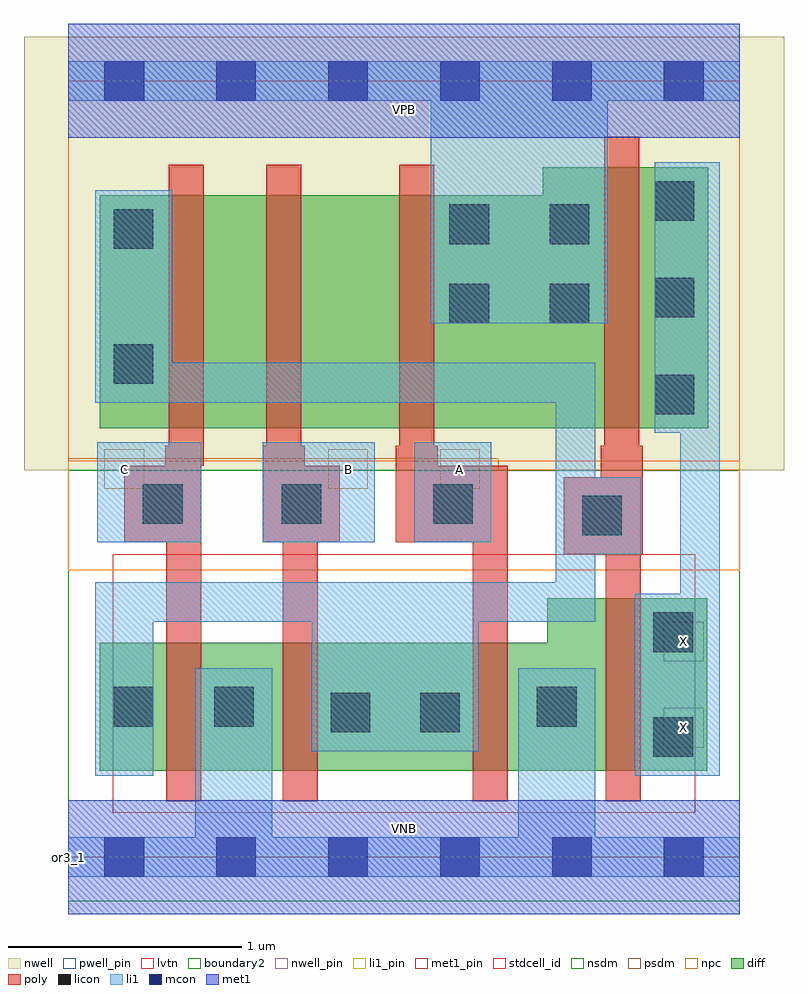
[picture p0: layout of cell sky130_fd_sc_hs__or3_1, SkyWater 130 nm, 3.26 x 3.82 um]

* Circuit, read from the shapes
.subckt sky130_fd_sc_hs__or3_1 A B C VGND VNB VPB VPWR X
XM1 VGND C n1 VNB sky130_fd_pr__nfet_01v8_lvt w=0.55 l=0.15
XM2 n1 B VGND VNB sky130_fd_pr__nfet_01v8_lvt w=0.55 l=0.15
XM3 VGND A n1 VNB sky130_fd_pr__nfet_01v8_lvt w=0.55 l=0.15
XM4 X n1 VGND VNB sky130_fd_pr__nfet_01v8_lvt w=0.74 l=0.15
XM5 n2 C n1 VPB sky130_fd_pr__pfet_01v8 w=1 l=0.15
XM6 n3 B n2 VPB sky130_fd_pr__pfet_01v8 w=1 l=0.15
XM7 VPWR A n3 VPB sky130_fd_pr__pfet_01v8 w=1 l=0.15
XM8 X n1 VPWR VPB sky130_fd_pr__pfet_01v8 w=1.12 l=0.15
.ends

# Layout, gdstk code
import gdstk
lib = gdstk.Library(unit=1e-6, precision=1e-09)
def R(c, l, rs):  # rectangles x0, y0, x1, y1
    for r in rs: c.add(gdstk.rectangle(r[:2], r[2:], *l))
def A(c, l, x, y, w, h, nx, ny, dx, dy):  # array of equal rectangles
    R(c, l, [(x+i*dx, y+j*dy, x+i*dx+w, y+j*dy+h) for i in range(nx) for j in range(ny)])
def P(c, l, *ps):  # polygons
    for p in ps: c.add(gdstk.Polygon(p, *l))
nwell_pin = (64, 16)
nwell = (64, 20)
diff = (65, 20)
poly = (66, 20)
licon = (66, 44)
li1_pin = (67, 16)
li1 = (67, 20)
mcon = (67, 44)
met1_pin = (68, 16)
met1 = (68, 20)
stdcell_id = (81, 4)
nsdm = (93, 44)
psdm = (94, 20)
npc = (95, 20)
pwell_pin = (122, 16)
lvtn = (125, 44)
boundary2 = (236, 0)

sky130_fd_sc_hs__or3_1 = lib.new_cell('sky130_fd_sc_hs__or3_1')
R(sky130_fd_sc_hs__or3_1, nwell_pin, [(0,3.085,2.88,3.33)])
R(sky130_fd_sc_hs__or3_1, nwell, [(-0.19,1.66,3.07,3.52)])
P(sky130_fd_sc_hs__or3_1, diff, [(2.74,1.11),(2.055,1.11),(2.055,0.92),(0.135,0.92),(0.135,0.37),(2.74,0.37)],
  [(2.745,2.96),(2.035,2.96),(2.035,2.84),(0.135,2.84),(0.135,1.84),(2.745,1.84)])
P(sky130_fd_sc_hs__or3_1, poly, [(2.465,1.765),(2.45,1.765),(2.45,3.09),(2.3,3.09),(2.3,1.765),(2.285,1.765),(2.285,1.63),(2.125,1.63),(2.125,1.3),(2.305,1.3),(2.305,0.24),(2.455,0.24),(2.455,1.3),(2.465,1.3)],
  [(1.885,1.68),(1.585,1.68),(1.585,1.765),(1.57,1.765),(1.57,2.97),(1.42,2.97),(1.42,1.765),(1.405,1.765),(1.405,1.35),(1.735,1.35),(1.735,0.24),(1.885,0.24)],
  [(1.165,1.68),(1.015,1.68),(1.015,1.765),(1,1.765),(1,2.97),(0.85,2.97),(0.85,1.765),(0.835,1.765),(0.835,1.35),(0.92,1.35),(0.92,0.24),(1.07,0.24),(1.07,1.35),(1.165,1.35)],
  [(0.58,2.97),(0.43,2.97),(0.43,1.765),(0.415,1.765),(0.415,1.68),(0.24,1.68),(0.24,1.35),(0.42,1.35),(0.42,0.24),(0.57,0.24),(0.57,1.68),(0.58,1.68)])
A(sky130_fd_sc_hs__or3_1, licon, 2.515, 1.9, 0.17, 0.17, 1, 3, 0, 0.415)
R(sky130_fd_sc_hs__or3_1, licon, [(2.51,0.43,2.68,0.6), (1.125,0.535,1.295,0.705), (1.51,0.535,1.68,0.705), (0.195,0.56,0.365,0.73), (0.625,0.56,0.795,0.73), (2.01,0.56,2.18,0.73), (2.51,0.88,2.68,1.05), (2.205,1.38,2.375,1.55), (0.32,1.43,0.49,1.6), (0.915,1.43,1.085,1.6), (1.565,1.43,1.735,1.6), (0.195,2.03,0.365,2.2), (1.635,2.29,1.805,2.46), (2.065,2.29,2.235,2.46), (0.195,2.61,0.365,2.78), (1.635,2.63,1.805,2.8), (2.065,2.63,2.235,2.8)])
R(sky130_fd_sc_hs__or3_1, li1_pin, [(2.555,0.47,2.725,0.64), (2.555,0.84,2.725,1.01), (0.155,1.58,0.325,1.75), (1.115,1.58,1.285,1.75), (1.595,1.58,1.765,1.75)])
R(sky130_fd_sc_hs__or3_1, li1, [(0.125,1.35,0.57,1.78), (0.835,1.35,1.315,1.78), (1.485,1.35,1.815,1.78)])
P(sky130_fd_sc_hs__or3_1, li1, [(0,-0.085),(0,0.085),(0.545,0.085),(0.545,0.81),(0.875,0.81),(0.875,0.085),(1.93,0.085),(1.93,0.81),(2.26,0.81),(2.26,0.085),(2.88,0.085),(2.88,-0.085)],
  [(0,3.245),(0,3.415),(2.88,3.415),(2.88,3.245),(2.315,3.245),(2.315,2.29),(1.555,2.29),(1.555,3.245)],
  [(2.26,1.01),(1.76,1.01),(1.76,0.455),(1.045,0.455),(1.045,1.01),(0.365,1.01),(0.365,0.35),(0.115,0.35),(0.115,1.18),(2.09,1.18),(2.09,1.95),(0.115,1.95),(0.115,2.86),(0.445,2.86),(0.445,2.12),(2.26,2.12),(2.26,1.63),(2.455,1.63),(2.455,1.3),(2.26,1.3)],
  [(2.625,1.13),(2.625,1.82),(2.515,1.82),(2.515,2.98),(2.795,2.98),(2.795,0.35),(2.43,0.35),(2.43,1.13)])
A(sky130_fd_sc_hs__or3_1, mcon, 0.155, -0.085, 0.17, 0.17, 6, 2, 0.48, 3.33)
R(sky130_fd_sc_hs__or3_1, met1_pin, [(0,0,2.88,0.245), (0,3.085,2.88,3.33)])
R(sky130_fd_sc_hs__or3_1, met1, [(0,-0.245,2.88,0.245), (0,3.085,2.88,3.575)])
R(sky130_fd_sc_hs__or3_1, stdcell_id, [(0,0,2.88,3.33)])
R(sky130_fd_sc_hs__or3_1, nsdm, [(0,-0.19,2.88,1.66)])
P(sky130_fd_sc_hs__or3_1, psdm, [(2.88,3.52),(0,3.52),(0,1.71),(1.845,1.71),(1.845,1.66),(2.88,1.66)])
R(sky130_fd_sc_hs__or3_1, npc, [(0,1.23,2.88,1.7)])
R(sky130_fd_sc_hs__or3_1, pwell_pin, [(0,0,2.88,0.245)])
R(sky130_fd_sc_hs__or3_1, lvtn, [(0.19,0.19,2.69,1.3)])
R(sky130_fd_sc_hs__or3_1, boundary2, [(0,0,2.88,3.33)])
sky130_fd_sc_hs__or3_1.add(gdstk.Label('or3_1', (0,0), layer=83, texttype=44))
sky130_fd_sc_hs__or3_1.add(gdstk.Label('VNB', (1.44,0.123), layer=64, texttype=59))
sky130_fd_sc_hs__or3_1.add(gdstk.Label('VPB', (1.44,3.208), layer=64, texttype=5))
sky130_fd_sc_hs__or3_1.add(gdstk.Label('VPWR', (1.44,3.208), layer=68, texttype=5))
sky130_fd_sc_hs__or3_1.add(gdstk.Label('VGND', (1.44,0.123), layer=68, texttype=5))
sky130_fd_sc_hs__or3_1.add(gdstk.Label('A', (1.68,1.665), layer=67, texttype=5))
sky130_fd_sc_hs__or3_1.add(gdstk.Label('B', (1.2,1.665), layer=67, texttype=5))
sky130_fd_sc_hs__or3_1.add(gdstk.Label('C', (0.24,1.665), layer=67, texttype=5))
sky130_fd_sc_hs__or3_1.add(gdstk.Label('X', (2.64,0.555), layer=67, texttype=5))
sky130_fd_sc_hs__or3_1.add(gdstk.Label('X', (2.64,0.925), layer=67, texttype=5))

lib.write_gds('sky130_fd_sc_hs__or3_1.gds')
